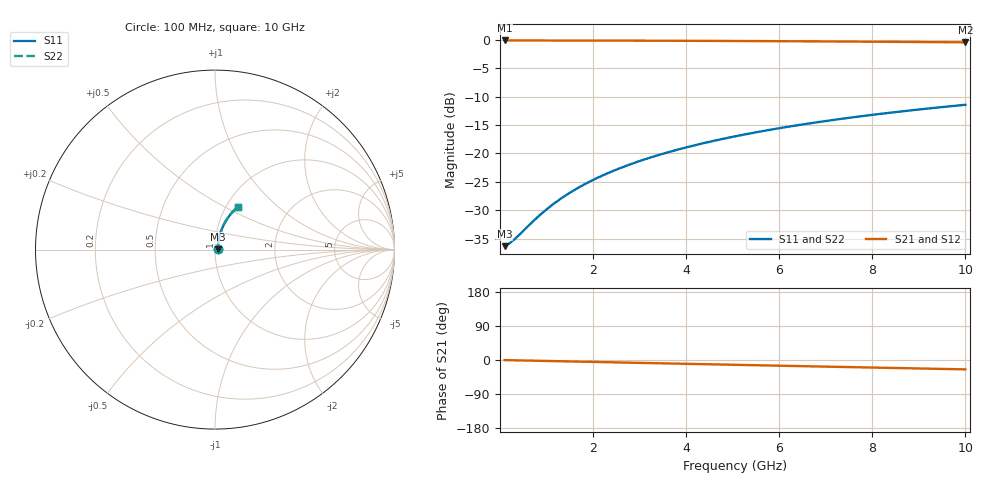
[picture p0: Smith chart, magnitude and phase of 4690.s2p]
# Hz S RI R 50.00
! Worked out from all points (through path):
!   100 points, 100 MHz to 10 GHz, reference 50 ohm
!   highest |S21| = -0.13 dB at 100 MHz (marker M1); lowest = -0.5 dB at 10 GHz (marker M2)
!   group delay of S21, straight-line fit = 6.88 ps
!   lowest |S11| = -36.3 dB at 100 MHz (marker M3), VSWR 1.03, Z = 51.5 + j0.284 ohm
!   |S11| at or under -10 dB: start of sweep to end of sweep
!   |S22| runs from -36.3 to -11.5 dB; largest |S21 - S12| = 0
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1e8  0.015 0.00275  0.985 -0.00434  0.985 -0.00434  0.015 0.00275
2e8  0.0152 0.00551  0.9848 -0.00869  0.9848 -0.00869  0.0152 0.00551
3e8  0.0153 0.00826  0.9847 -0.013  0.9847 -0.013  0.0153 0.00826
8e8  0.0162 0.022  0.9837 -0.0347  0.9837 -0.0347  0.0162 0.022
9e8  0.0164 0.0247  0.9835 -0.039  0.9835 -0.039  0.0164 0.0247
1.1e9  0.017 0.0302  0.9829 -0.0477  0.9829 -0.0477  0.017 0.0302
1.4e9  0.018 0.0384  0.9818 -0.0607  0.9818 -0.0607  0.018 0.0384
1.6e9  0.0187 0.0438  0.9809 -0.0693  0.9809 -0.0693  0.0187 0.0438
1.8e9  0.0196 0.0493  0.98 -0.0779  0.98 -0.0779  0.0196 0.0493
2.1e9  0.0211 0.0574  0.9784 -0.0908  0.9784 -0.0908  0.0211 0.0574
2.5e9  0.0233 0.0681  0.9758 -0.1079  0.9758 -0.1079  0.0233 0.0681
2.9e9  0.026 0.0787  0.9729 -0.1249  0.9729 -0.1249  0.026 0.0787
3.4e9  0.0298 0.0918  0.9687 -0.1459  0.9687 -0.1459  0.0298 0.0918
3.8e9  0.0332 0.1021  0.9649 -0.1627  0.9649 -0.1627  0.0332 0.1021
4.2e9  0.0371 0.1123  0.9606 -0.1792  0.9606 -0.1792  0.0371 0.1123
4.6e9  0.0412 0.1223  0.956 -0.1957  0.956 -0.1957  0.0412 0.1223
5.1e9  0.0468 0.1346  0.9497 -0.2159  0.9497 -0.2159  0.0468 0.1346
5.9e9  0.0569 0.1537  0.9385 -0.2478  0.9385 -0.2478  0.0569 0.1537
6.7e9  0.0682 0.1718  0.9259 -0.2788  0.9259 -0.2788  0.0682 0.1718
7.5e9  0.0807 0.1891  0.912 -0.3089  0.912 -0.3089  0.0807 0.1891
8.4e9  0.0959 0.2072  0.8949 -0.3416  0.8949 -0.3416  0.0959 0.2072
1e10  0.1258 0.2362  0.8611 -0.3964  0.8611 -0.3964  0.1258 0.2362
